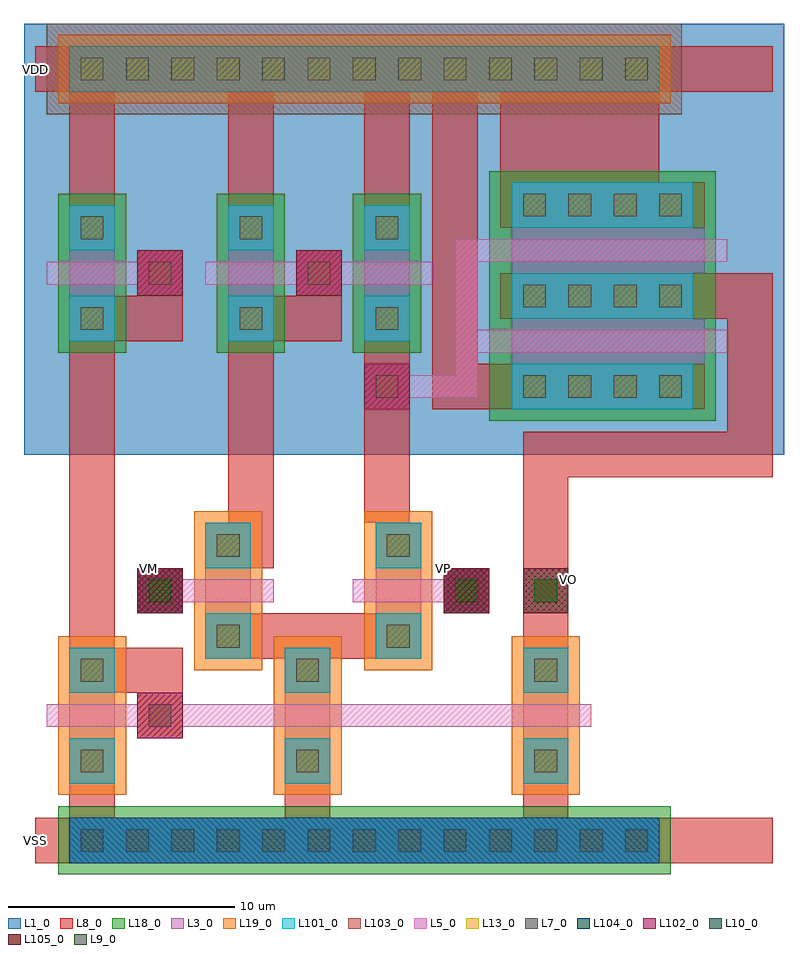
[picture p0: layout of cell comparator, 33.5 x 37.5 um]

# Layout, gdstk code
from math import pi, radians
import gdstk
lib = gdstk.Library(unit=1e-6, precision=1e-09)
def R(c, l, rs):  # rectangles x0, y0, x1, y1
    for r in rs: c.add(gdstk.rectangle(r[:2], r[2:], *l))
def A(c, l, x, y, w, h, nx, ny, dx, dy):  # array of equal rectangles
    R(c, l, [(x+i*dx, y+j*dy, x+i*dx+w, y+j*dy+h) for i in range(nx) for j in range(ny)])
L1_0 = (1, 0)
L3_0 = (3, 0)
L5_0 = (5, 0)
L7_0 = (7, 0)
L8_0 = (8, 0)
L9_0 = (9, 0)
L10_0 = (10, 0)
L13_0 = (13, 0)
L18_0 = (18, 0)
L19_0 = (19, 0)
L101_0 = (101, 0)
L102_0 = (102, 0)
L103_0 = (103, 0)
L104_0 = (104, 0)
L105_0 = (105, 0)

dcont_1 = lib.new_cell('dcont$1')
R(dcont_1, L3_0, [(-1,-1,1,1)])
R(dcont_1, L7_0, [(-0.5,-0.5,0.5,0.5)])
R(dcont_1, L8_0, [(-1,-1,1,1)])
R(dcont_1, L13_0, [(-0.5,-0.5,0.5,0.5)])
R(dcont_1, L101_0, [(-1,-1,1,1)])
dcont_1.add(gdstk.Label('dcont', (0,0), layer=13, texttype=0))

pcont = lib.new_cell('pcont')
R(pcont, L5_0, [(-1,-1,1,1)])
R(pcont, L7_0, [(-0.5,-0.5,0.5,0.5)])
R(pcont, L8_0, [(-1,-1,1,1)])
R(pcont, L13_0, [(-0.5,-0.5,0.5,0.5)])
R(pcont, L102_0, [(-1,-1,1,1)])
pcont.add(gdstk.Label('pcont', (0,0), layer=13, texttype=0))

nsubcont = lib.new_cell('nsubcont')
R(nsubcont, L1_0, [(-2,-2,2,2)])
R(nsubcont, L19_0, [(-1.5,-1.5,1.5,1.5)])
R(nsubcont, L103_0, [(-2,-2,2,2)])
nsubcont.add(gdstk.Reference(dcont_1, (0,0)))
nsubcont.add(gdstk.Label('NScont', (0,0), layer=13, texttype=0))

pcont_1 = lib.new_cell('pcont$1')
R(pcont_1, L5_0, [(-1,-1,1,1)])
R(pcont_1, L7_0, [(-0.5,-0.5,0.5,0.5)])
R(pcont_1, L8_0, [(-1,-1,1,1)])
R(pcont_1, L13_0, [(-0.5,-0.5,0.5,0.5)])
R(pcont_1, L102_0, [(-1,-1,1,1)])
pcont_1.add(gdstk.Label('pcont', (0,0), layer=13, texttype=0))

psubcont = lib.new_cell('psubcont')
R(psubcont, L18_0, [(-1.5,-1.5,1.5,1.5)])
R(psubcont, L104_0, [(-1,-1,1,1)])
psubcont.add(gdstk.Reference(dcont_1, (0,0)))
psubcont.add(gdstk.Label('PScon', (0,0), layer=13, texttype=0))

via = lib.new_cell('Via')
R(via, L8_0, [(-1,-1,1,1)])
R(via, L9_0, [(-0.5,-0.5,0.5,0.5)])
R(via, L10_0, [(-1,-1,1,1)])
R(via, L13_0, [(-0.5,-0.5,0.5,0.5)])
R(via, L105_0, [(-1,-1,1,1)])
via.add(gdstk.Label('via', (0,0), layer=13, texttype=0))

comparator = lib.new_cell('comparator')
R(comparator, L1_0, [(-60,-1.5,-26.5,17.5)])
R(comparator, L3_0, [(-58,-14,-56,-12), (-48.5,-14,-46.5,-12), (-38,-14,-36,-12), (-52,-8.5,-50,-6.5), (-44.5,-8.5,-42.5,-6.5), (-38.5,2.5,-30,4.5), (-58,5.5,-56,7.5), (-51,5.5,-49,7.5), (-45,5.5,-43,7.5), (-38.5,6.5,-30,8.5)])
R(comparator, L5_0, [(-59,-13.5,-55,-12.5), (-49.5,-13.5,-45.5,-12.5), (-39,-13.5,-35,-12.5), (-53,-8,-49,-7), (-45.5,-8,-41.5,-7), (-59,6,-55,7), (-52,6,-48,7), (-46,6,-42,7)])
A(comparator, L8_0, -39, 0.5, 9, 2, 1, 3, 0, 4)
R(comparator, L8_0, [(-59.5,-19.5,-27,-17.5), (-58,-17.5,-56,-16), (-48.5,-17.5,-46.5,-16), (-38,-17.5,-36,-16), (-56,-12,-53,-10), (-50,-10.5,-44.5,-8.5), (-58,-10,-56,3.5), (-38,-10,-36,-8.5), (-51,-6.5,-49,3.5), (-45,-4.5,-43,2.5), (-42,0.5,-40,14.5), (-40,0.5,-39,2.5), (-45,2.5,-43,3.5), (-56,3.5,-53,5.5), (-49,3.5,-46,5.5), (-58,9.5,-56,16), (-51,9.5,-49,16), (-45,9.5,-43,16), (-39,10.5,-32,16.5), (-59.5,14.5,-27,16.5)])
R(comparator, L18_0, [(-39.5,0,-29.5,11), (-58.5,3,-55.5,10), (-51.5,3,-48.5,10), (-45.5,3,-42.5,10)])
R(comparator, L19_0, [(-58.5,-16.5,-55.5,-9.5), (-49,-16.5,-46,-9.5), (-38.5,-16.5,-35.5,-9.5), (-52.5,-11,-49.5,-4), (-45,-11,-42,-4), (-58.5,14,-31.5,17)])
comparator.add(gdstk.FlexPath([(-38.5,5.5),(-28,5.5),(-28,-1.5),(-37,-1.5),(-37,-8.5)], 2, ends="flush", simple_path=True, layer=8, datatype=0))  # L8_0
comparator.add(gdstk.FlexPath([(-40,7.5),(-29,7.5)], 1, ends="flush", simple_path=True, layer=5, datatype=0))  # L5_0
comparator.add(gdstk.FlexPath([(-40,3.5),(-29,3.5)], 1, ends="flush", simple_path=True, layer=5, datatype=0))  # L5_0
comparator.add(gdstk.FlexPath([(-40.5,8),(-40.5,1.5),(-44.5,1.5)], 1, ends="flush", simple_path=True, layer=5, datatype=0))  # L5_0
comparator.add(gdstk.FlexPath([(-53,-13),(-39,-13)], 1, ends="flush", simple_path=True, layer=5, datatype=0))  # L5_0
comparator.add(gdstk.Reference(dcont_1, (-57,8.5), rotation=pi/2))
comparator.add(gdstk.Reference(dcont_1, (-50,8.5), rotation=pi/2))
comparator.add(gdstk.Reference(pcont, (-54,6.5), rotation=pi/2))
comparator.add(gdstk.Reference(pcont, (-47,6.5), rotation=pi/2))
comparator.add(gdstk.Reference(dcont_1, (-50,4.5), rotation=pi/2))
comparator.add(gdstk.Reference(dcont_1, (-31.5,9.5), rotation=pi/2))
comparator.add(gdstk.Reference(dcont_1, (-33.5,9.5), rotation=pi/2))
comparator.add(gdstk.Reference(dcont_1, (-35.5,9.5), rotation=pi/2))
comparator.add(gdstk.Reference(dcont_1, (-37.5,9.5), rotation=pi/2))
comparator.add(gdstk.Reference(dcont_1, (-37.5,5.5), rotation=pi/2))
comparator.add(gdstk.Reference(dcont_1, (-35.5,5.5), rotation=pi/2))
comparator.add(gdstk.Reference(dcont_1, (-33.5,5.5), rotation=pi/2))
comparator.add(gdstk.Reference(dcont_1, (-31.5,5.5), rotation=pi/2))
comparator.add(gdstk.Reference(dcont_1, (-37.5,1.5), rotation=pi/2))
comparator.add(gdstk.Reference(dcont_1, (-35.5,1.5), rotation=pi/2))
comparator.add(gdstk.Reference(dcont_1, (-33.5,1.5), rotation=pi/2))
comparator.add(gdstk.Reference(dcont_1, (-31.5,1.5), rotation=pi/2))
comparator.add(gdstk.Reference(nsubcont, (-53,15.5), rotation=pi/2))
comparator.add(gdstk.Reference(nsubcont, (-49,15.5), rotation=pi/2))
comparator.add(gdstk.Reference(nsubcont, (-45,15.5), rotation=pi/2))
comparator.add(gdstk.Reference(nsubcont, (-57,15.5), rotation=pi/2))
comparator.add(gdstk.Reference(dcont_1, (-55,15.5), rotation=pi/2))
comparator.add(gdstk.Reference(nsubcont, (-41,15.5), rotation=pi/2))
comparator.add(gdstk.Reference(nsubcont, (-37,15.5), rotation=pi/2))
comparator.add(gdstk.Reference(dcont_1, (-51,15.5), rotation=pi/2))
comparator.add(gdstk.Reference(dcont_1, (-47,15.5), rotation=pi/2))
comparator.add(gdstk.Reference(nsubcont, (-33,15.5), rotation=pi/2))
comparator.add(gdstk.Reference(dcont_1, (-43,15.5), rotation=pi/2))
comparator.add(gdstk.Reference(dcont_1, (-57,-11), rotation=pi/2))
comparator.add(gdstk.Reference(pcont_1, (-54,-7.5), rotation=pi/2))
comparator.add(gdstk.Reference(pcont_1, (-54,-13), rotation=pi/2))
comparator.add(gdstk.Reference(dcont_1, (-37,-11), rotation=pi/2))
comparator.add(gdstk.Reference(psubcont, (-57,-18.5), rotation=pi/2))
comparator.add(gdstk.Reference(psubcont, (-55,-18.5), rotation=pi/2))
comparator.add(gdstk.Reference(psubcont, (-53,-18.5), rotation=pi/2))
comparator.add(gdstk.Reference(psubcont, (-51,-18.5), rotation=pi/2))
comparator.add(gdstk.Reference(psubcont, (-49,-18.5), rotation=pi/2))
comparator.add(gdstk.Reference(psubcont, (-47,-18.5), rotation=pi/2))
comparator.add(gdstk.Reference(psubcont, (-45,-18.5), rotation=pi/2))
comparator.add(gdstk.Reference(psubcont, (-43,-18.5), rotation=pi/2))
comparator.add(gdstk.Reference(psubcont, (-41,-18.5), rotation=pi/2))
comparator.add(gdstk.Reference(psubcont, (-39,-18.5), rotation=pi/2))
comparator.add(gdstk.Reference(psubcont, (-37,-18.5), rotation=pi/2))
comparator.add(gdstk.Reference(psubcont, (-35,-18.5), rotation=pi/2))
comparator.add(gdstk.Reference(psubcont, (-33,-18.5), rotation=pi/2))
comparator.add(gdstk.Reference(via, (-54,-7.5), rotation=pi/2))
comparator.add(gdstk.Reference(via, (-37,-7.5), rotation=pi/2))
comparator.add(gdstk.Reference(dcont_1, (-39,15.5), rotation=pi/2))
comparator.add(gdstk.Reference(dcont_1, (-35,15.5), rotation=pi/2))
comparator.add(gdstk.Reference(via, (-40.5,-7.5), rotation=pi/2))
comparator.add(gdstk.Reference(pcont_1, (-40.5,-7.5), rotation=pi/2))
comparator.add(gdstk.Reference(pcont_1, (-44,1.5), rotation=pi/2))
comparator.add(gdstk.Reference(dcont_1, (-37,-15), rotation=pi/2))
comparator.add(gdstk.Reference(dcont_1, (-57,-15), rotation=pi/2))
comparator.add(gdstk.Reference(dcont_1, (-57,4.5), rotation=pi/2))
comparator.add(gdstk.Reference(dcont_1, (-44,8.5), rotation=pi/2))
comparator.add(gdstk.Reference(dcont_1, (-44,4.5), rotation=pi/2))
comparator.add(gdstk.Reference(dcont_1, (-51,-5.5), rotation=pi/2))
comparator.add(gdstk.Reference(dcont_1, (-47.5,-15), rotation=pi/2))
comparator.add(gdstk.Reference(dcont_1, (-51,-9.5), rotation=pi/2))
comparator.add(gdstk.Reference(dcont_1, (-47.5,-11), rotation=pi/2))
comparator.add(gdstk.Reference(dcont_1, (-43.5,-5.5), rotation=pi/2))
comparator.add(gdstk.Reference(dcont_1, (-43.5,-9.5), rotation=pi/2))
comparator.add(gdstk.Label('VDD', (-59.5,15.5), layer=8, texttype=0))
comparator.add(gdstk.Label('VSS', (-59.5,-18.5), layer=8, texttype=0))
comparator.add(gdstk.Label('VM', (-54.5,-6.5), layer=10, texttype=0))
comparator.add(gdstk.Label('VO', (-36,-7), layer=10, texttype=0))
comparator.add(gdstk.Label('VP', (-41.5,-6.5), layer=10, texttype=0))

lib.write_gds('comparator.gds')
